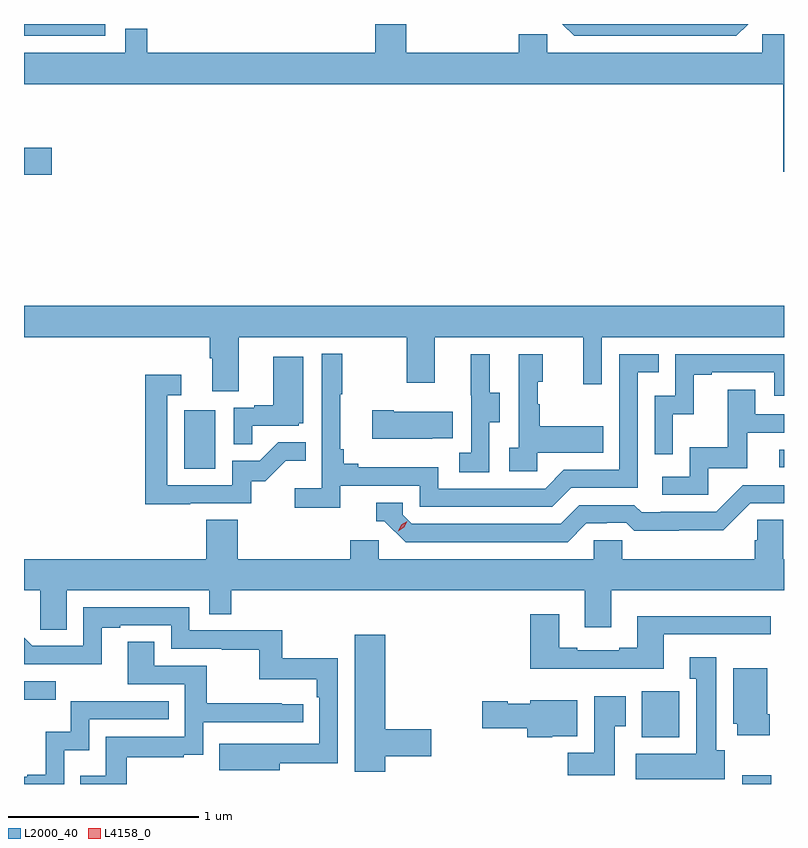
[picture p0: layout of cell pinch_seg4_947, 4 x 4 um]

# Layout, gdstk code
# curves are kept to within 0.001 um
import gdstk
lib = gdstk.Library(unit=1e-6, precision=1e-09)
def R(c, l, rs):  # rectangles x0, y0, x1, y1
    for r in rs: c.add(gdstk.rectangle(r[:2], r[2:], *l))
def P(c, l, *ps):  # polygons
    for p in ps: c.add(gdstk.Polygon(p, *l))
L2000_40 = (2000, 40)
L4158_0 = (4158, 0)

pinch_seg4_947 = lib.new_cell('pinch_seg4_947')
R(pinch_seg4_947, L2000_40, [(871.109,769.16,871.262,769.207), (870.581,769.406,870.778,769.648), (867.329,769.604,867.496,769.701), (868.172,770.82,868.336,771.127), (871.305,770.826,871.329,770.919), (867.329,772.367,867.475,772.509), (867.329,773.097,867.756,773.16)])
P(pinch_seg4_947, L2000_40, [(871.215,773.008),(870.084,773.008),(870.084,773.106),(869.933,773.106),(869.933,773.008),(869.342,773.008),(869.342,773.16),(869.177,773.16),(869.177,773.008),(867.977,773.008),(867.977,773.135),(867.861,773.135),(867.861,773.008),(867.329,773.008),(867.329,772.844),(871.325,772.844),(871.325,772.383),(871.329,772.383),(871.329,773.106),(871.215,773.106)],
  [(871.141,773.16),(870.162,773.16),(870.225,773.097),(871.078,773.097)],
  [(868.459,771.512),(869.344,771.512),(869.344,771.273),(869.491,771.273),(869.491,771.512),(870.272,771.512),(870.272,771.264),(870.369,771.264),(870.369,771.512),(871.329,771.512),(871.329,771.676),(867.329,771.676),(867.329,771.512),(868.307,771.512),(868.307,771.4),(868.319,771.4),(868.319,771.226),(868.459,771.226)],
  [(868.994,770.73),(869.412,770.73),(869.412,770.619),(870.109,770.619),(870.208,770.718),(870.558,770.718),(870.558,771.327),(870.671,771.327),(870.671,771.423),(870.462,771.423),(870.462,770.814),(870.171,770.814),(870.072,770.715),(869.508,770.715),(869.508,770.827),(869.089,770.827),(869.089,770.846),(869.012,770.846),(869.012,770.923),(868.993,770.923),(868.993,771.211),(869.005,771.211),(869.005,771.424),(868.896,771.424),(868.896,770.716),(868.755,770.716),(868.755,770.614),(868.994,770.614)],
  [(870.744,771.107),(870.854,771.107),(870.854,771.315),(870.949,771.315),(870.949,771.327),(871.278,771.327),(871.278,771.204),(871.329,771.204),(871.329,771.423),(870.756,771.423),(870.756,771.204),(870.648,771.204),(870.648,770.895),(870.744,770.895)],
  [(870.03,770.903),(870.377,770.903),(870.377,771.043),(870.043,771.043),(870.043,771.158),(870.033,771.158),(870.033,771.276),(870.058,771.276),(870.058,771.421),(869.934,771.421),(869.934,770.93),(869.883,770.93),(869.883,770.805),(870.03,770.805)],
  [(869.778,771.064),(869.833,771.064),(869.833,771.219),(869.779,771.219),(869.779,771.421),(869.681,771.421),(869.681,771.207),(869.682,771.207),(869.682,770.903),(869.619,770.903),(869.619,770.8),(869.778,770.8)],
  [(868.529,771.045),(868.776,771.045),(868.776,771.06),(868.798,771.06),(868.798,771.409),(868.64,771.409),(868.64,771.154),(868.541,771.154),(868.541,771.141),(868.434,771.141),(868.434,770.947),(868.529,770.947)],
  [(868.205,770.637),(868.524,770.637),(868.524,770.754),(868.6,770.754),(868.707,770.861),(868.811,770.861),(868.811,770.96),(868.667,770.96),(868.569,770.862),(868.425,770.862),(868.425,770.733),(868.083,770.733),(868.083,771.207),(868.156,771.207),(868.156,771.313),(867.967,771.313),(867.967,770.632),(868.205,770.632)],
  [(870.93,770.823),(871.135,770.823),(871.135,771.009),(871.329,771.009),(871.329,771.105),(871.177,771.105),(871.177,771.235),(871.033,771.235),(871.033,770.932),(870.834,770.932),(870.834,770.778),(870.687,770.778),(870.687,770.682),(870.93,770.682)],
  [(869.477,770.981),(869.585,770.981),(869.585,771.118),(869.275,771.118),(869.275,771.126),(869.163,771.126),(869.163,770.978),(869.477,770.978)],
  [(870.289,770.532),(870.396,770.532),(870.396,770.535),(870.499,770.535),(870.541,770.493),(870.774,770.493),(870.774,770.495),(871.01,770.495),(871.152,770.637),(871.329,770.637),(871.329,770.733),(871.113,770.733),(870.972,770.592),(870.679,770.592),(870.679,770.589),(870.58,770.589),(870.541,770.628),(870.252,770.628),(870.153,770.529),(869.37,770.529),(869.322,770.577),(869.322,770.64),(869.183,770.64),(869.183,770.544),(869.226,770.544),(869.337,770.433),(870.19,770.433)],
  [(867.553,770.18),(868.305,770.18),(868.305,770.053),(868.421,770.053),(868.421,770.18),(870.281,770.18),(870.281,769.986),(870.421,769.986),(870.421,770.18),(871.329,770.18),(871.329,770.344),(871.326,770.344),(871.326,770.552),(871.189,770.552),(871.189,770.442),(871.175,770.442),(871.175,770.344),(870.477,770.344),(870.477,770.442),(870.327,770.442),(870.327,770.344),(869.196,770.344),(869.196,770.442),(869.045,770.442),(869.045,770.344),(868.454,770.344),(868.454,770.552),(868.289,770.552),(868.289,770.344),(867.329,770.344),(867.329,770.18),(867.414,770.18),(867.414,769.972),(867.553,769.972)],
  [(868.675,769.27),(868.98,769.27),(868.98,769.822),(868.687,769.822),(868.687,769.968),(868.2,769.968),(868.2,770.091),(867.642,770.091),(867.642,769.887),(867.372,769.887),(867.329,769.93),(867.329,769.791),(867.739,769.79),(867.739,769.983),(867.835,769.983),(867.835,769.995),(868.104,769.995),(868.104,769.872),(868.369,769.872),(868.369,769.867),(868.566,769.867),(868.566,769.712),(868.871,769.712),(868.871,769.616),(868.884,769.616),(868.884,769.371),(868.357,769.372),(868.357,769.232),(868.675,769.232)],
  [(870.697,769.947),(871.258,769.947),(871.258,770.044),(870.557,770.044),(870.557,769.876),(870.461,769.876),(870.461,769.863),(870.241,769.863),(870.241,769.876),(870.145,769.876),(870.145,770.053),(869.993,770.053),(869.993,769.766),(870.697,769.766)],
  [(869.23,769.306),(869.473,769.306),(869.473,769.448),(869.23,769.448),(869.23,769.945),(869.069,769.945),(869.069,769.224),(869.23,769.224)],
  [(867.871,769.302),(868.169,769.302),(868.169,769.313),(868.272,769.313),(868.272,769.485),(868.798,769.485),(868.798,769.581),(868.685,769.581),(868.685,769.586),(868.292,769.586),(868.292,769.782),(868.015,769.782),(868.015,769.91),(867.875,769.91),(867.875,769.686),(868.176,769.686),(868.176,769.41),(867.76,769.41),(867.76,769.204),(867.625,769.204),(867.625,769.16),(867.871,769.16)],
  [(871.018,769.338),(870.973,769.338),(870.973,769.828),(870.833,769.828),(870.833,769.715),(870.866,769.715),(870.866,769.318),(870.549,769.318),(870.549,769.184),(871.018,769.184)],
  [(871.253,769.528),(871.24,769.528),(871.24,769.768),(871.061,769.768),(871.061,769.476),(871.082,769.476),(871.082,769.416),(871.253,769.416)],
  [(870.439,769.465),(870.496,769.465),(870.496,769.621),(870.329,769.621),(870.329,769.324),(870.19,769.324),(870.19,769.206),(870.439,769.206)],
  [(870.108,769.412),(870.241,769.412),(870.241,769.6),(869.994,769.6),(869.994,769.582),(869.874,769.582),(869.874,769.595),(869.742,769.595),(869.742,769.453),(869.978,769.453),(869.978,769.406),(870.108,769.406)],
  [(867.54,769.337),(867.672,769.337),(867.672,769.5),(868.091,769.5),(868.091,769.596),(867.576,769.596),(867.576,769.435),(867.443,769.435),(867.443,769.21),(867.347,769.21),(867.347,769.197),(867.329,769.197),(867.329,769.16),(867.54,769.16)])
P(pinch_seg4_947, L4158_0, [(869.299,770.491),(869.299,770.491),(869.315,770.524),(869.345,770.544),(869.345,770.544),(869.345,770.543),(869.33,770.511),(869.299,770.491)])

lib.write_gds('pinch_seg4_947.gds')
